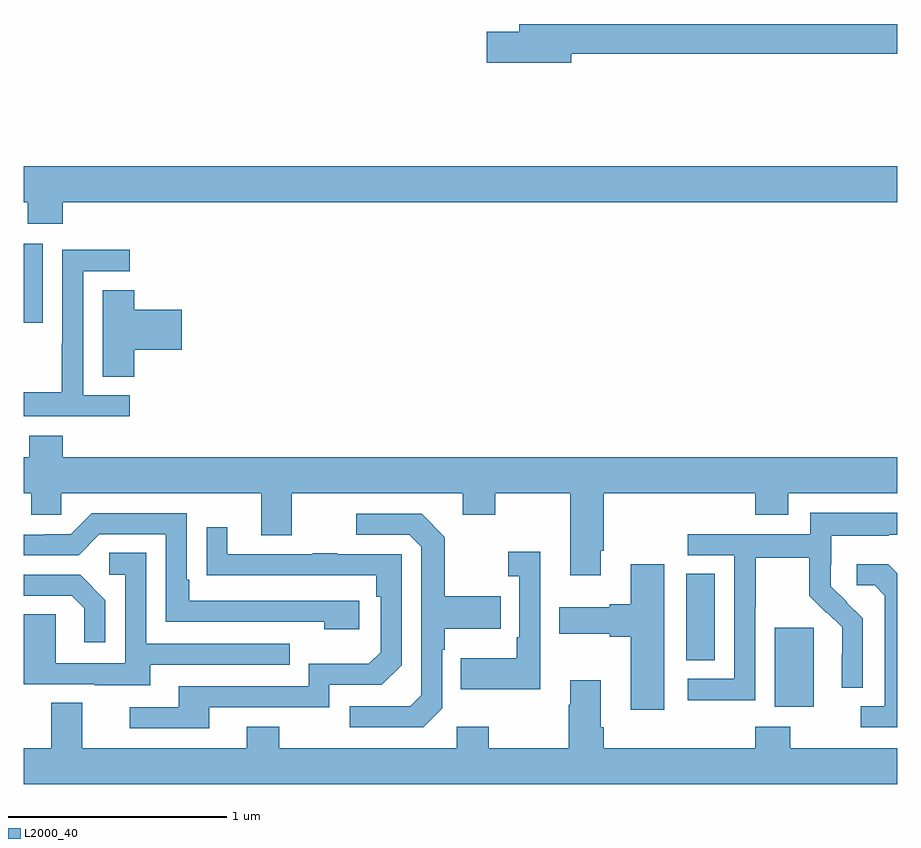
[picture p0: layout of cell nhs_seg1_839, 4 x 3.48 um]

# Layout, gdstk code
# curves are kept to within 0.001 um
import gdstk
lib = gdstk.Library(unit=1e-6, precision=1e-09)
def R(c, l, rs):  # rectangles x0, y0, x1, y1
    for r in rs: c.add(gdstk.rectangle(r[:2], r[2:], *l))
def P(c, l, *ps):  # polygons
    for p in ps: c.add(gdstk.Polygon(p, *l))
L2000_40 = (2000, 40)

nhs_seg1_839 = lib.new_cell('nhs_seg1_839')
R(nhs_seg1_839, L2000_40, [(160.439,518.786,160.618,519.147), (160.034,518.998,160.165,519.395), (157,520.545,157.087,520.906)])
P(nhs_seg1_839, L2000_40, [(159.508,521.776),(161,521.776),(161,521.912),(159.269,521.912),(159.269,521.876),(159.12,521.876),(159.12,521.734),(159.508,521.734)],
  [(157.178,521.096),(161,521.096),(161,521.26),(157,521.26),(157,521.096),(157.018,521.096),(157.018,520.997),(157.178,520.997)],
  [(157.486,520.212),(157.272,520.212),(157.272,520.779),(157.486,520.779),(157.486,520.878),(157.176,520.878),(157.176,520.448),(157.174,520.448),(157.174,520.225),(157,520.225),(157,520.116),(157.486,520.116)],
  [(157.505,520.421),(157.723,520.421),(157.723,520.604),(157.505,520.604),(157.505,520.694),(157.361,520.694),(157.361,520.297),(157.505,520.297)],
  [(159.643,519.499),(159.656,519.499),(159.656,519.764),(160.349,519.764),(160.349,519.665),(160.501,519.665),(160.501,519.764),(161,519.764),(161,519.928),(157.178,519.928),(157.178,520.027),(157.025,520.027),(157.025,519.928),(157,519.928),(157,519.764),(157.035,519.764),(157.035,519.666),(157.173,519.666),(157.173,519.764),(158.087,519.764),(158.087,519.57),(158.227,519.57),(158.227,519.764),(159.011,519.764),(159.011,519.665),(159.159,519.665),(159.159,519.764),(159.503,519.764),(159.503,519.387),(159.643,519.387)],
  [(160.35,519.244),(160.353,519.244),(160.353,519.468),(160.597,519.468),(160.597,519.293),(160.674,519.216),(160.677,519.219),(160.748,519.149),(160.748,519.026),(160.746,519.026),(160.746,518.872),(160.842,518.872),(160.842,519.19),(160.696,519.338),(160.696,519.435),(160.698,519.435),(160.698,519.569),(160.961,519.569),(160.961,519.573),(161,519.573),(161,519.673),(160.602,519.673),(160.602,519.576),(160.041,519.576),(160.041,519.48),(160.254,519.48),(160.254,518.913),(160.041,518.913),(160.041,518.815),(160.35,518.815)],
  [(158.536,519.27),(157.759,519.27),(157.759,519.367),(157.746,519.367),(157.746,519.672),(157.311,519.672),(157.215,519.576),(157.097,519.576),(157.097,519.573),(157,519.573),(157,519.48),(157.251,519.48),(157.347,519.576),(157.65,519.576),(157.65,519.174),(158.375,519.174),(158.375,519.14),(158.536,519.14)],
  [(158.916,518.778),(158.916,519.047),(158.929,519.047),(158.929,519.143),(159.185,519.143),(159.185,519.291),(158.929,519.291),(158.929,519.563),(158.823,519.669),(158.523,519.669),(158.523,519.573),(158.766,519.573),(158.82,519.519),(158.82,518.838),(158.769,518.787),(158.493,518.787),(158.493,518.691),(158.829,518.691)],
  [(157.849,518.784),(158.4,518.784),(158.4,518.886),(158.64,518.886),(158.73,518.976),(158.73,519.483),(158.435,519.483),(158.435,519.488),(158.323,519.488),(158.323,519.483),(157.933,519.483),(157.933,519.607),(157.837,519.607),(157.837,519.388),(158.614,519.387),(158.614,519.29),(158.634,519.29),(158.634,519.036),(158.581,518.983),(158.304,518.983),(158.304,518.88),(157.709,518.88),(157.709,518.784),(157.485,518.784),(157.485,518.688),(157.849,518.688)],
  [(159.366,519.496),(159.219,519.496),(159.219,519.383),(159.27,519.383),(159.27,519.103),(159.258,519.103),(159.258,519.007),(159.001,519.007),(159.001,518.867),(159.366,518.867)],
  [(157.579,518.979),(158.219,518.979),(158.219,519.075),(157.56,519.075),(157.56,519.491),(157.392,519.491),(157.392,519.39),(157.464,519.39),(157.464,518.985),(157.146,518.985),(157.146,519.209),(157.001,519.209),(157.001,518.889),(157.325,518.889),(157.325,518.885),(157.579,518.885)],
  [(161,519.397),(160.958,519.439),(160.815,519.439),(160.815,519.342),(160.896,519.342),(160.943,519.295),(160.943,518.787),(160.833,518.787),(160.833,518.691),(161,518.691)],
  [(159.934,519.439),(159.779,519.439),(159.779,519.254),(159.683,519.254),(159.683,519.241),(159.453,519.241),(159.453,519.119),(159.683,519.119),(159.683,519.107),(159.779,519.107),(159.779,518.772),(159.934,518.772)],
  [(157.374,519.274),(157.258,519.39),(157,519.39),(157,519.294),(157.22,519.294),(157.277,519.237),(157.277,519.081),(157.374,519.081)],
  [(161,518.596),(160.509,518.596),(160.509,518.695),(160.349,518.695),(160.349,518.596),(159.656,518.596),(159.656,518.692),(159.643,518.692),(159.643,518.908),(159.503,518.908),(159.503,518.795),(159.496,518.795),(159.496,518.596),(159.129,518.596),(159.129,518.695),(158.982,518.695),(158.982,518.596),(158.169,518.596),(158.169,518.695),(158.021,518.695),(158.021,518.596),(157.267,518.596),(157.267,518.804),(157.127,518.804),(157.127,518.596),(157,518.596),(157,518.432),(161,518.432)])

lib.write_gds('nhs_seg1_839.gds')
